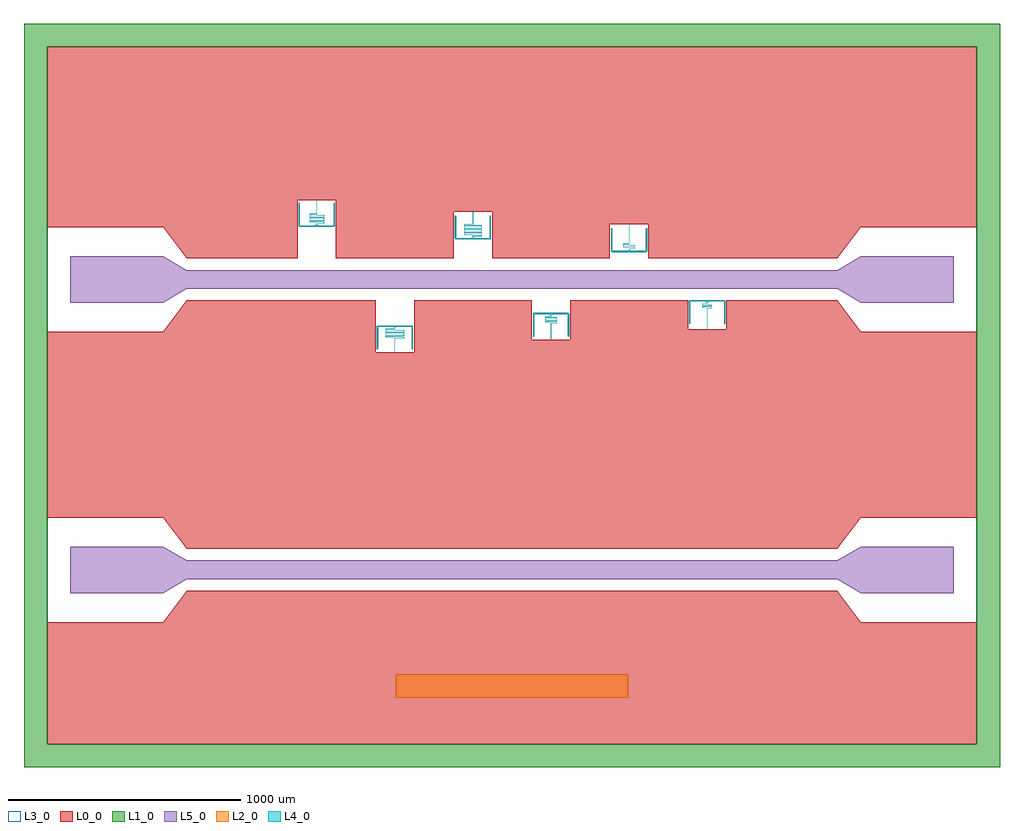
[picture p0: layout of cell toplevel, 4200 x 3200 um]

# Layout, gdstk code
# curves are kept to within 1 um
import gdstk
lib = gdstk.Library(unit=1e-6, precision=1e-09)
def R(c, l, rs):  # rectangles x0, y0, x1, y1
    for r in rs: c.add(gdstk.rectangle(r[:2], r[2:], *l))
def P(c, l, *ps):  # polygons
    for p in ps: c.add(gdstk.Polygon(p, *l))
L0_0 = (0, 0)
L1_0 = (1, 0)
L2_0 = (2, 0)
L3_0 = (3, 0)
L4_0 = (4, 0)
L5_0 = (5, 0)

toplevel = lib.new_cell('toplevel')
P(toplevel, L0_0, [(-757.5,841),(-757.5,590),(-250.5,590),(-250.5,791.6),(-85.5,791.6),(-85.5,590),(421.5,590),(421.5,737.2),(586.5,737.2),(586.5,590),(1400,590),(1500,725),(2000,725),(2000,1500),(-2000,1500),(-2000,725),(-1500,725),(-1400,590),(-922.5,590),(-922.5,841)],
  [(2000,275),(1500,275),(1400,410),(922.5,410),(922.5,285),(757.5,285),(757.5,410),(250.5,410),(250.5,240.6),(85.5,240.6),(85.5,410),(-421.5,410),(-421.5,186.2),(-586.5,186.2),(-586.5,410),(-1400,410),(-1500,275),(-2000,275),(-2000,-525),(-1500,-525),(-1400,-660),(1400,-660),(1500,-525),(2000,-525)],
  [(1400,-840),(-1400,-840),(-1500,-975),(-2000,-975),(-2000,-1500),(2000,-1500),(2000,-975),(1500,-975)])
P(toplevel, L1_0, [(2100,1600),(-2100,1600),(-2100,-1500),(-2000,-1500),(-2000,1500),(2000,1500),(2000,-1500),(-2000,-1500),(-2100,-1500),(-2100,-1600),(2100,-1600)])
R(toplevel, L2_0, [(-500,-1300,500,-1200)])
R(toplevel, L3_0, [(-2000,-1500,2000,1500)])
P(toplevel, L4_0, [(-839.7,739.925),(-839.566,740.536),(-839.02,740.699),(-809.78,740.71),(-808.933,741.13),(-808.7,742.101),(-808.75,745.468),(-809.13,746.067),(-809.828,746.293),(-869.888,746.3),(-870.646,746.605),(-870.689,750.197),(-870.127,750.695),(-809.923,750.702),(-808.79,751.401),(-808.738,755.416),(-809.1,756.044),(-809.81,756.292),(-869.888,756.3),(-870.644,756.598),(-870.682,760.251),(-870.145,760.694),(-809.946,760.701),(-808.797,761.381),(-808.733,765.39),(-809.058,766.008),(-809.816,766.292),(-869.95,766.3),(-870.64,766.589),(-870.687,770.21),(-870.15,770.693),(-810.008,770.7),(-808.81,771.348),(-808.736,775.403),(-809.082,776.029),(-809.786,776.29),(-869.95,776.3),(-870.632,776.57),(-870.691,780.176),(-870.247,780.682),(-840.963,780.701),(-839.834,781.296),(-839.7,841),(-840.3,841),(-840.375,781.555),(-841.02,781.3),(-870.364,781.271),(-871.272,780.358),(-871.178,776.322),(-869.986,775.7),(-809.85,775.693),(-809.312,775.206),(-809.364,771.579),(-810.05,771.3),(-870.214,771.29),(-870.918,771.029),(-871.263,770.409),(-871.198,766.368),(-870.763,765.864),(-869.992,765.7),(-809.864,765.694),(-809.31,765.189),(-809.365,761.576),(-809.985,761.301),(-870.19,761.292),(-870.918,761.029),(-871.264,760.403),(-871.208,756.394),(-870.077,755.702),(-809.855,755.694),(-809.309,755.176),(-809.356,751.598),(-810.112,751.3),(-870.22,751.289),(-870.912,751.034),(-871.265,750.396),(-871.232,746.467),(-870.814,745.894),(-870.077,745.702),(-809.824,745.691),(-809.315,745.227),(-809.308,741.828),(-809.985,741.301),(-839.481,741.246),(-840.278,740.32),(-840.3,736),(-850,731),(-910.62,731),(-912.27,731.279),(-912.502,826.109),(-912.952,827.434),(-914.043,828.31),(-915.326,828.479),(-916.607,827.915),(-917.266,827.056),(-917.5,826),(-917.475,731.954),(-916.915,729.4),(-915.498,727.451),(-913.414,726.336),(-910.644,726),(-769.356,726),(-766.888,726.253),(-764.934,727.118),(-763.131,729.296),(-762.504,732.513),(-762.5,826),(-763.085,827.607),(-764.353,828.415),(-765.752,828.384),(-766.983,827.522),(-767.498,826.109),(-767.5,732.88),(-767.751,731.251),(-769.38,731),(-830,731),(-839.7,736)],
  [(-504.302,287.123),(-504.443,286.654),(-504.919,286.503),(-542.377,286.469),(-543.085,286.045),(-543.3,285.142),(-543.267,281.81),(-542.965,281.213),(-542.39,280.933),(-466.01,280.9),(-465.432,280.734),(-465.3,280.078),(-465.32,276.941),(-465.891,276.504),(-541.981,276.5),(-542.75,276.343),(-543.19,275.852),(-543.261,271.784),(-542.9,271.156),(-542.172,270.907),(-466.06,270.9),(-465.367,270.627),(-465.313,266.986),(-465.877,266.505),(-541.975,266.5),(-542.73,266.353),(-543.172,265.891),(-543.263,261.791),(-542.906,261.161),(-542.172,260.907),(-466.06,260.9),(-465.376,260.648),(-465.313,256.99),(-465.877,256.505),(-541.97,256.5),(-543.15,255.937),(-543.265,251.804),(-542.912,251.166),(-542.178,250.907),(-466.065,250.9),(-465.388,250.671),(-465.309,247.02),(-465.79,246.513),(-503.003,246.499),(-504.117,245.995),(-504.3,186.2),(-503.7,186.2),(-503.606,245.682),(-502.96,245.9),(-465.693,245.92),(-465.041,246.207),(-464.728,246.842),(-464.864,250.963),(-466.03,251.5),(-542.123,251.505),(-542.687,251.99),(-542.618,255.66),(-541.935,255.9),(-465.828,255.907),(-465.093,256.161),(-464.736,256.797),(-464.837,260.911),(-466.025,261.5),(-542.123,261.505),(-542.687,261.99),(-542.628,265.639),(-541.94,265.9),(-465.828,265.907),(-465.099,266.156),(-464.738,266.784),(-464.816,270.865),(-465.263,271.35),(-466.025,271.5),(-542.123,271.505),(-542.687,271.986),(-542.636,275.621),(-541.94,275.9),(-465.852,275.905),(-465.136,276.128),(-464.747,276.745),(-464.8,280.825),(-465.218,281.325),(-465.969,281.499),(-542.167,281.508),(-542.685,281.973),(-542.694,285.345),(-542.516,285.782),(-541.899,285.9),(-504.584,285.938),(-503.986,286.264),(-503.726,286.855),(-503.7,291.2),(-494,296.2),(-433.4,296.2),(-431.728,295.918),(-431.5,294.32),(-431.498,201.091),(-431.048,199.766),(-429.957,198.89),(-428.674,198.721),(-427.393,199.285),(-426.734,200.143),(-426.5,201.2),(-426.525,295.246),(-427.131,297.904),(-428.534,299.777),(-430.654,300.884),(-433.38,301.2),(-574.764,301.199),(-577.179,300.93),(-579.066,300.082),(-580.853,297.939),(-581.496,294.687),(-581.5,201.2),(-580.915,199.593),(-579.647,198.785),(-578.248,198.816),(-577.017,199.678),(-576.502,201.091),(-576.5,294.32),(-576.254,295.943),(-574.6,296.2),(-514,296.2),(-504.3,291.2)],
  [(-167.7,685.53),(-167.559,686.144),(-167.005,686.299),(-131.316,686.307),(-130.461,686.693),(-130.2,687.701),(-130.257,691.094),(-130.624,691.662),(-131.358,691.895),(-204.388,691.9),(-205.148,692.212),(-205.184,695.839),(-204.654,696.293),(-131.463,696.301),(-130.718,696.475),(-130.3,696.975),(-130.236,701.003),(-130.636,701.672),(-131.346,701.894),(-204.445,701.9),(-205.139,702.186),(-205.187,705.814),(-204.627,706.295),(-131.519,706.3),(-130.75,706.457),(-130.31,706.948),(-130.238,711.016),(-130.593,711.639),(-131.322,711.893),(-204.44,711.9),(-205.132,712.17),(-205.187,715.81),(-204.627,716.295),(-131.525,716.3),(-130.776,716.443),(-130.331,716.902),(-130.236,721.003),(-130.593,721.639),(-131.322,721.893),(-204.44,721.9),(-205.121,722.146),(-205.187,725.81),(-204.627,726.295),(-131.53,726.3),(-130.357,726.85),(-130.235,730.996),(-130.587,731.634),(-131.316,731.892),(-204.435,731.9),(-205.109,732.124),(-205.191,735.776),(-204.714,736.287),(-168.991,736.301),(-167.89,736.792),(-167.7,791.6),(-168.3,791.6),(-168.399,737.111),(-169.04,736.9),(-204.82,736.878),(-205.47,736.582),(-205.774,735.945),(-205.629,731.824),(-204.47,731.3),(-131.373,731.295),(-130.812,730.806),(-130.885,727.135),(-131.56,726.9),(-204.684,726.892),(-205.412,726.634),(-205.765,725.996),(-205.657,721.876),(-205.211,721.437),(-204.475,721.3),(-131.373,721.295),(-130.813,720.81),(-130.873,717.158),(-131.56,716.9),(-204.678,716.893),(-205.406,716.639),(-205.763,716.009),(-205.681,711.928),(-205.237,711.45),(-204.481,711.3),(-131.373,711.295),(-130.813,710.814),(-130.864,707.179),(-131.555,706.9),(-204.678,706.893),(-205.406,706.639),(-205.762,706.016),(-205.695,701.961),(-205.256,701.46),(-204.481,701.3),(-131.386,701.296),(-130.819,700.855),(-130.855,697.202),(-131.505,696.9),(-204.653,696.894),(-205.394,696.648),(-205.765,695.996),(-205.708,691.994),(-205.224,691.443),(-204.388,691.3),(-131.346,691.293),(-130.944,691.148),(-130.801,690.644),(-130.808,687.428),(-131.172,686.934),(-167.428,686.859),(-168.019,686.53),(-168.275,685.939),(-168.3,681.6),(-178,676.6),(-238.62,676.6),(-240.243,676.846),(-240.5,678.5),(-240.502,771.709),(-240.952,773.034),(-242.043,773.91),(-243.326,774.079),(-244.607,773.515),(-245.266,772.656),(-245.5,771.6),(-245.475,677.554),(-244.915,675),(-243.563,673.107),(-241.447,671.946),(-238.644,671.6),(-97.356,671.6),(-94.888,671.853),(-92.934,672.718),(-91.923,673.634),(-91.131,674.896),(-90.503,678.163),(-90.5,771.6),(-91.085,773.207),(-92.353,774.015),(-93.752,773.984),(-94.983,773.122),(-95.498,771.709),(-95.5,678.48),(-95.751,676.851),(-97.38,676.6),(-158,676.6),(-167.7,681.6)],
  [(167.698,341.537),(167.039,340.901),(143.5,340.841),(142.871,340.376),(142.7,339.499),(142.741,336.171),(143.48,335.364),(192.053,335.298),(192.581,335.119),(192.7,334.514),(192.681,331.345),(192.145,330.906),(143.986,330.899),(143.173,330.697),(142.762,330.113),(142.741,326.171),(143.78,325.31),(191.894,325.3),(192.66,324.95),(192.685,321.373),(192.163,320.908),(143.923,320.898),(142.776,320.159),(142.731,316.223),(143.774,315.311),(191.965,315.3),(192.654,314.971),(192.691,311.428),(192.283,310.924),(168.929,310.898),(167.781,310.173),(167.7,240.6),(168.3,240.6),(168.349,309.982),(168.995,310.299),(192.416,310.338),(193.272,311.242),(193.226,315.153),(192.014,315.899),(143.837,315.908),(143.317,316.357),(143.343,319.961),(143.966,320.299),(192.232,320.312),(193.263,321.191),(193.238,325.113),(192.82,325.702),(192.014,325.899),(143.837,325.908),(143.315,326.369),(143.34,329.95),(144.106,330.3),(192.257,330.314),(193.26,331.178),(193.245,335.087),(192.833,335.693),(192.014,335.899),(143.803,335.911),(143.312,336.394),(143.308,339.767),(143.971,340.299),(167.553,340.374),(168.281,341.299),(168.3,345.6),(178,350.6),(238.6,350.6),(240.272,350.318),(240.502,255.491),(240.952,254.166),(242.043,253.29),(243.326,253.121),(244.607,253.685),(245.5,255.6),(245.475,349.646),(244.915,352.2),(243.498,354.149),(241.414,355.264),(238.62,355.6),(97.236,355.599),(94.821,355.33),(92.934,354.482),(91.131,352.304),(90.503,349.037),(90.5,255.6),(91.085,253.993),(92.353,253.185),(93.752,253.216),(94.983,254.078),(95.498,255.491),(95.751,350.349),(158,350.6),(167.7,345.6)],
  [(504.3,631.12),(504.947,631.898),(528.232,631.912),(529.072,632.336),(529.3,633.322),(529.246,636.681),(528.226,637.489),(480.03,637.5),(479.332,637.879),(479.313,641.41),(479.82,641.891),(528.02,641.901),(529.248,642.726),(529.26,646.622),(528.251,647.487),(480.03,647.5),(479.337,647.86),(479.309,651.376),(479.717,651.876),(503.083,651.902),(504.24,652.693),(504.3,737.2),(503.7,737.2),(503.661,652.853),(503.01,652.501),(479.584,652.461),(478.73,651.57),(478.757,647.706),(479.98,646.901),(528.18,646.891),(528.687,646.41),(528.666,642.871),(527.97,642.5),(479.749,642.487),(478.74,641.622),(478.749,637.739),(479.98,636.901),(528.167,636.892),(528.683,636.443),(528.696,633.086),(528.067,632.502),(504.447,632.426),(503.726,631.545),(503.7,627.2),(494,622.2),(431.741,622.463),(431.498,717.309),(431.048,718.634),(429.957,719.51),(428.674,719.679),(427.393,719.115),(426.5,717.2),(426.525,623.154),(427.085,620.6),(428.437,618.707),(430.552,617.546),(433.356,617.2),(574.644,617.2),(577.112,617.453),(579.066,618.318),(580.853,620.461),(581.496,623.713),(581.5,717.2),(580.915,718.807),(579.647,719.615),(578.248,719.584),(577.017,718.722),(576.502,717.309),(576.254,622.457),(514,622.2),(504.3,627.2)],
  [(839.699,395.956),(839.077,395.302),(820.48,395.236),(819.7,393.878),(819.73,390.629),(820.46,389.77),(858.985,389.7),(859.554,389.55),(859.7,388.935),(859.688,385.794),(859.21,385.313),(820.952,385.299),(819.745,384.448),(819.738,380.584),(820.706,379.718),(858.985,379.7),(859.675,379.291),(859.692,375.833),(859.325,375.333),(840.876,375.296),(839.74,374.422),(839.7,285),(840.3,285),(840.327,374.298),(840.966,374.699),(859.481,374.753),(860.272,375.642),(860.263,379.409),(859.048,380.299),(820.79,380.313),(820.312,380.794),(820.324,384.283),(821.015,384.7),(859.294,384.718),(860.26,385.578),(860.268,389.383),(859.048,390.299),(820.798,390.312),(820.315,390.769),(820.311,394.197),(820.909,394.697),(839.612,394.795),(840.277,395.674),(840.3,400),(850,405),(912.272,404.718),(912.502,309.891),(912.952,308.566),(914.043,307.69),(915.326,307.521),(916.607,308.085),(917.5,310),(917.475,404.046),(916.915,406.6),(915.498,408.549),(913.414,409.664),(910.62,410),(769.236,409.999),(766.821,409.73),(764.934,408.882),(763.131,406.704),(762.504,403.487),(762.5,310),(763.085,308.393),(764.353,307.585),(765.752,307.616),(766.983,308.478),(767.498,309.891),(767.751,404.749),(830,405),(839.7,400)])
P(toplevel, L5_0, [(-1400,540),(-1500,600),(-1900,600),(-1900,400),(-1500,400),(-1400,460),(1400,460),(1500,400),(1900,400),(1900,600),(1500,600),(1400,540)],
  [(-1400,-710),(-1500,-650),(-1900,-650),(-1900,-850),(-1500,-850),(-1400,-790),(1400,-790),(1500,-850),(1900,-850),(1900,-650),(1500,-650),(1400,-710)])

lib.write_gds('toplevel.gds')
